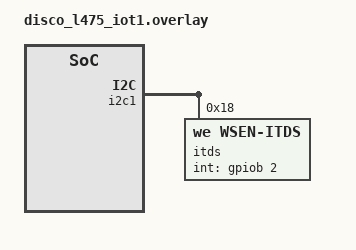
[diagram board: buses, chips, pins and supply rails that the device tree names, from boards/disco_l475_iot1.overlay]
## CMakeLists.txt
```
# SPDX-License-Identifier: Apache-2.0

cmake_minimum_required(VERSION 3.20.0)
find_package(Zephyr REQUIRED HINTS $ENV{ZEPHYR_BASE})
project(wsen_itds)

target_sources(app PRIVATE src/main.c)
```

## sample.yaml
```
sample:
  name: WSEN-ITDS Sensor Sample
tests:
  sample.sensor.wsen-itds:
    harness: sensor
    tags: sensors
    depends_on:
      - i2c
      - gpio
    filter: dt_compat_enabled("we,wsen-itds")
```

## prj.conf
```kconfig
###### Basic configuration required for using sensors ######
CONFIG_I2C=y
# CONFIG_SPI=y
CONFIG_SENSOR=y

###### Configuration of WSEN-ITDS ######
CONFIG_ITDS=y
CONFIG_ITDS_TRIGGER_NONE=y
# CONFIG_ITDS_TRIGGER_GLOBAL_THREAD=y
# CONFIG_ITDS_TRIGGER_OWN_THREAD=y
# CONFIG_ITDS_TAP=y
# CONFIG_ITDS_FREEFALL=y
# CONFIG_ITDS_DELTA=y

###### Log config ######
CONFIG_STDOUT_CONSOLE=y
CONFIG_LOG=y
# The following two parameters are required to enable float log support
CONFIG_CBPRINTF_FP_SUPPORT=y
CONFIG_LOG_MODE_DEFERRED=y

# Larger stack required for ITDS example with triggers enabled
CONFIG_MAIN_STACK_SIZE=4096
```

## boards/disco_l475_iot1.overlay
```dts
/*
 * Copyright (c) 2020, Linumiz
 *
 * SPDX-License-Identifier: Apache-2.0
 */

&i2c1 {
	itds@18 {
		compatible = "we,wsen-itds";
		reg = <0x18>;
		int-gpios = <&gpiob 2 GPIO_ACTIVE_HIGH>;
		odr = "800";
		op-mode = "high-perf";
	};
};
```

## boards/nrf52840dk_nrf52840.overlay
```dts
/*
 * Copyright (c) 2022 Würth Elektronik eiSos GmbH & Co. KG
 *
 * SPDX-License-Identifier: Apache-2.0
 */

&i2c0 {
	// EV board default address (SAO=1)
	itds@19 {
		compatible = "we,wsen-itds";
		reg = <0x19>;
		label = "ITDS";
		int-gpios = <&gpio0 24 GPIO_ACTIVE_HIGH>;
		odr = "12.5";
		op-mode = "low-power";

		drdy-int = <0>;

		tap-mode = <1>;
		tap-threshold = <9>, <9>, <9>;
		tap-shock = <2>;
		tap-latency = <5>;
		tap-quiet = <1>;

		freefall-duration = <6>;
		freefall-threshold = <10>;

		delta-duration = <1>;
		delta-threshold = <4>;
		// delta-offsets = <0>, <0>, <0>;
		// delta-offset-weight = <0>;
	};
};

// &spi1 {
// 	cs-gpios = <&gpio0 25 GPIO_ACTIVE_LOW>;

// 	itds@0 {
// 		compatible = "we,wsen-itds";
// 		reg = <0x0>;
// 		spi-max-frequency = <8000000>;
// 		label = "ITDS";
// 		int-gpios = <&gpio0 24 GPIO_ACTIVE_HIGH>;
// 	};
// };
```

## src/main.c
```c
/*
 * Copyright (c) 2020 Linumiz
 *
 * SPDX-License-Identifier: Apache-2.0
 */

#include <zephyr/kernel.h>

#include <zephyr/sys/printk.h>
#include <zephyr/sys_clock.h>
#include <stdio.h>

#include <zephyr/device.h>
#include <zephyr/drivers/sensor.h>
#include <zephyr/drivers/i2c.h>

#define MAX_TEST_TIME	5000
#define SLEEPTIME	300

static void print_accl_data(const struct device *itds)
{
	struct sensor_value val[3];

	if (sensor_channel_get(itds, SENSOR_CHAN_ACCEL_XYZ, val) < 0) {
		printf("Cannot read itds accl channels.\n");
		return;
	}

	printf("Accl (m/s): X=%f, Y=%f, Z=%f\n",
		sensor_value_to_double(&val[0]),
		sensor_value_to_double(&val[1]),
		sensor_value_to_double(&val[2]));
}

static void print_temp_data(const struct device *itds)
{
	struct sensor_value val;

	if (sensor_channel_get(itds, SENSOR_CHAN_DIE_TEMP, &val) < 0) {
		printf("Temperature channel read error.\n");
		return;
	}

	printf("Temperature (Celsius): %f\n",
		sensor_value_to_double(&val));
}

static void test_polling_mode(const struct device *itds)
{
	int32_t remaining_test_time = MAX_TEST_TIME;

	do {
		if (sensor_sample_fetch(itds) < 0) {
			printf("accl sample update error.\n");
		} else {
			print_accl_data(itds);

			print_temp_data(itds);
		}

		/* wait a while */
		k_sleep(K_MSEC(SLEEPTIME));

		remaining_test_time -= SLEEPTIME;
	} while (remaining_test_time > 0);
}

#if defined(CONFIG_ITDS_TRIGGER)
static void trigger_handler(const struct device *itds,
			    const struct sensor_trigger *trigger)
{
	switch (trigger->type) {
	case SENSOR_TRIG_DATA_READY:
		printf("Data ready.\n");
		if (sensor_sample_fetch(itds) < 0) {
			printf("sample update error.\n");
		} else {
			print_accl_data(itds);
		}
		return;

	default:
		printf("trigger handler: unknown trigger type.\n");
		return;
	}
}
#endif

static void test_trigger_mode(const struct device *itds)
{
#if defined(CONFIG_ITDS_TRIGGER)
	struct sensor_trigger trig;
	struct sensor_value attr;

	printf("Testing data ready trigger.\n");

	attr.val1 = 400;
	attr.val2 = 0;

	if (sensor_attr_set(itds, SENSOR_CHAN_ACCEL_XYZ,
			    SENSOR_ATTR_SAMPLING_FREQUENCY, &attr) < 0) {
		printf("cannot set sampling frequency.\n");
		return;
	}

	trig.type = SENSOR_TRIG_DATA_READY;
	trig.chan = SENSOR_CHAN_ACCEL_XYZ;

	if (sensor_trigger_set(itds, &trig, trigger_handler) < 0) {
		printf("cannot set trigger.\n");
		return;
	}

	k_sleep(K_MSEC(MAX_TEST_TIME));

	trig.type = SENSOR_TRIG_DATA_READY;
	trig.chan = SENSOR_CHAN_ACCEL_XYZ;
	if (sensor_trigger_set(itds, &trig, NULL) < 0) {
		printf("cannot clear trigger.\n");
		return;
	}

	printf("Data ready trigger test finished.\n");
#endif

}

int main(void)
{
	const struct device *const itds = DEVICE_DT_GET_ONE(we_wsen_itds);
	struct sensor_value attr;

	printf("get device wsen-itds\n");
	if (!device_is_ready(itds)) {
		printk("sensor: device not ready.\n");
		return 0;
	}

	/*
	 * Set accl range to +/- 16 G. Since the sensor API needs SI
	 * units, convert the range to rad/s.
	 */
	sensor_g_to_ms2(4, &attr);

	if (sensor_attr_set(itds, SENSOR_CHAN_ACCEL_XYZ,
			    SENSOR_ATTR_FULL_SCALE, &attr) < 0) {
		printf("Cannot set accl range.\n");
		return 0;
	}

	printf("Testing the polling mode.\n");
	test_polling_mode(itds);
	printf("Polling mode test finished.\n");

	printf("Testing the trigger mode.\n");
	test_trigger_mode(itds);
	printf("Trigger mode test finished.\n");
	return 0;
}
```
